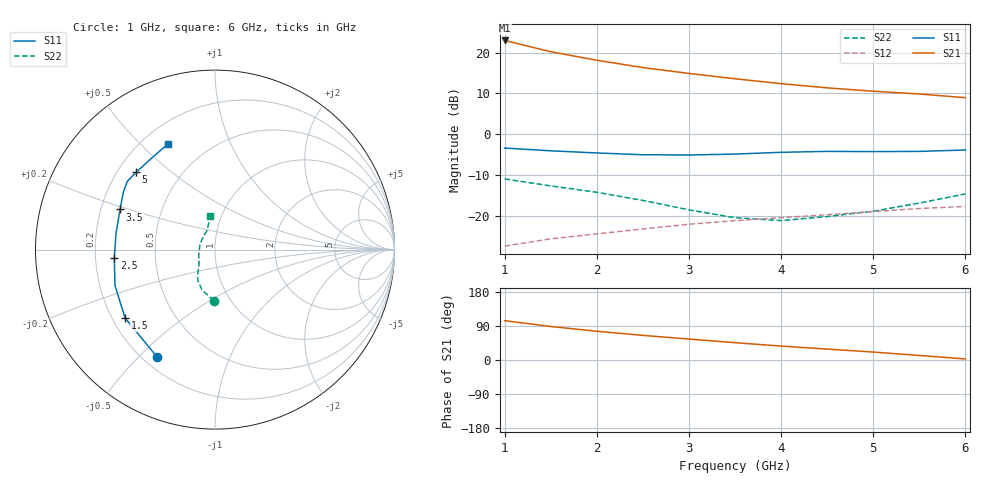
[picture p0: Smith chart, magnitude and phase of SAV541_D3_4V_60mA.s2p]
! Created Mon Oct 27 15:25:00 2008
# hz S ma R 50
! 2 Port Network Data from SP1.SP block
! freq  magS11  angS11  magS21  angS21  magS12  angS12  magS22  angS22
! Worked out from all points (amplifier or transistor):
!   11 points, 1 GHz to 6 GHz, reference 50 ohm
!   highest |S21| = 22.9 dB at 1 GHz (marker M1)
!   |S21| within 3 dB of that: start of sweep to 1.559 GHz
!   unconditionally stable (mu >= 1): 3.829 GHz to end of sweep
!   at 1.5 GHz: K = 0.66, MSG = 22.9 dB, |S12| = -25.5 dB
!   at 3.5 GHz: K = 0.99, MSG = 17.3 dB, |S12| = -21.1 dB
!   at 6 GHz: K = 1.06, MAG = 11.8 dB, |S12| = -17.6 dB
!   S11 on the Smith chart (normalised r, x): 1 GHz: 0.26, -0.57; 1.5 GHz: 0.25, -0.32; 2.5 GHz: 0.28, -0.04; 3.5 GHz: 0.28, +0.19; 5 GHz: 0.28, +0.38; 6 GHz: 0.30, +0.60
1e9  0.6796 -118.4  14.04 103.9  0.04302 43.2  0.2854 -91.4
1.5e9  0.6295 -142.7  10.22 88.4  0.05294 39.3  0.2346 -108.2
2e9  0.5923 -160.1  8.048 75.9  0.06079 35.9  0.196 -119.4
2.5e9  0.5633 -175.1  6.544 65.0  0.06976 33.4  0.1559 -127.5
3e9  0.5589 170.8  5.553 55.2  0.07978 30.4  0.1195 -138.1
3.5e9  0.5743 157.1  4.777 45.7  0.08812 25.9  0.09576 -161.1
4e9  0.6034 147.7  4.165 36.7  0.09587 22.0  0.08834 162.2
4.5e9  0.6193 142.1  3.698 28.9  0.1042 18.5  0.09896 130.8
5e9  0.6153 135.5  3.365 20.9  0.1138 14.5  0.115 113.0
5.5e9  0.6191 125.4  3.111 11.9  0.1241 9.0  0.1446 104.6
6e9  0.6437 114.2  2.807 2.8  0.1316 3.2  0.1873 98.2
